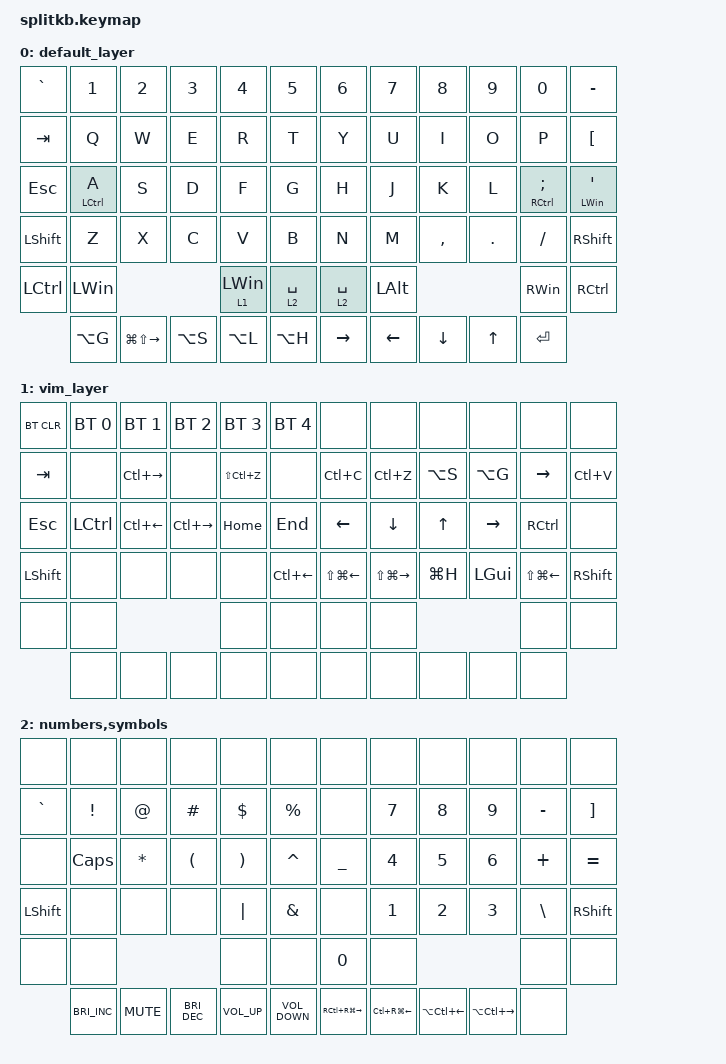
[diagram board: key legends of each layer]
/*
 * Copyright (c) 2020 The ZMK Contributors
 *
 * SPDX-License-Identifier: MIT
 */

#include <behaviors.dtsi>
#include <dt-bindings/zmk/bt.h>
#include <dt-bindings/zmk/keys.h>

/ {
    combos {
        compatible = "zmk,combos";

        Backspace {
            bindings = <&kp BACKSPACE>;
            key-positions = <19 20>;
        };

        Enter {
            bindings = <&kp ENTER>;
            key-positions = <20 21>;
        };

        Delete {
            bindings = <&kp DELETE>;
            key-positions = <14 15>;
        };
    };

    behaviors {
        hml: hml {
            compatible = "zmk,behavior-hold-tap";
            label = "HML";
            bindings = <&kp>, <&kp>;

            #binding-cells = <2>;
            tapping-term-ms = <200>;
            quick-tap-ms = <100>;
            flavor = "balanced";
            hold-trigger-on-release;
            hold-trigger-key-positions = <6 7 9 10 11 18 19 20 21 22 23 30 31 32 33 34 35 42 43 44 45 46 47 52 53 54 55 61 62 63 64 65 8>;
            require-prior-idle-ms = <200>;
        };

        hmr: hmr {
            compatible = "zmk,behavior-hold-tap";
            label = "HMR";
            bindings = <&kp>, <&kp>;

            #binding-cells = <2>;
            tapping-term-ms = <200>;
            quick-tap-ms = <100>;
            flavor = "balanced";
            hold-trigger-on-release;
            hold-trigger-key-positions = <6 7 9 10 11 18 19 20 21 22 23 30 31 32 33 34 35 42 43 44 45 46 47 52 53 54 55 61 62 63 64 65 8>;
            require-prior-idle-ms = <200>;
        };

        ml: ml {
            compatible = "zmk,behavior-hold-tap";
            label = "ML";
            bindings = <&mo>, <&kp>;

            #binding-cells = <2>;
            tapping-term-ms = <200>;
            quick-tap-ms = <100>;
            flavor = "balanced";
            hold-trigger-on-release;
            hold-trigger-key-positions = <6 7 9 10 11 18 19 20 21 22 23 30 31 32 33 34 35 42 43 44 45 46 47 52 53 54 55 61 62 63 64 65 8 0 1 2 3 4 5 6 7 8 9 10 11 12 13 14 15 16 17 18 19 20 21 22 23 24 25 26 27 28 29 30 31 32 33 34 35 36 37 38 39 40 41 42 43 44 45 46 47 48 49 50 51 52 53 54 55 56 64 60 59 57 58>;
        };
    };

    keymap {
        compatible = "zmk,keymap";

        default_layer {
            bindings = <
&kp GRAVE  &kp N1               &kp N2             &kp N3     &kp N4          &kp N5       &kp N6       &kp N7        &kp N8     &kp N9   &kp N0                        &kp MINUS
&kp TAB    &kp Q                &kp W              &kp E      &kp R           &kp T        &kp Y        &kp U         &kp I      &kp O    &kp P                         &kp LBKT
&kp ESC    &hml LEFT_CONTROL A  &kp S              &kp D      &kp F           &kp G        &kp H        &kp J         &kp K      &kp L    &hmr RIGHT_CONTROL SEMICOLON  &hmr LEFT_WIN SQT
&kp LSHFT  &kp Z                &kp X              &kp C      &kp V           &kp B        &kp N        &kp M         &kp COMMA  &kp DOT  &kp FSLH                      &kp RSHFT
&kp LCTRL  &kp LEFT_WIN                                       &ml 1 LEFT_WIN  &ml 2 SPACE  &ml 2 SPACE  &kp LEFT_ALT                      &kp RIGHT_WIN                 &kp RCTRL
           &kp LA(G)            &kp LG(LS(RIGHT))  &kp LA(S)  &kp LA(L)       &kp LA(H)    &kp RIGHT    &kp LEFT      &kp DOWN   &kp UP   &kp ENTER
            >;
        };

        vim_layer {
            bindings = <
&bt BT_CLR  &bt BT_SEL 0  &bt BT_SEL 1   &bt BT_SEL 2   &bt BT_SEL 3   &bt BT_SEL 4  &none             &none              &none      &none      &none             &none
&kp TAB     &none         &kp LC(RIGHT)  &none          &kp LS(LC(Z))  &none         &kp LC(C)         &kp LC(Z)          &kp LA(S)  &kp LA(G)  &kp RIGHT         &kp LC(V)
&kp ESC     &kp LCTRL     &kp LC(LEFT)   &kp LC(RIGHT)  &kp HOME       &kp END       &kp LEFT          &kp DOWN           &kp UP     &kp RIGHT  &kp RCTRL         &none
&kp LSHFT   &none         &none          &none          &none          &kp LC(LEFT)  &kp LS(LG(LEFT))  &kp LS(LG(RIGHT))  &kp LG(H)  &kp LGUI   &kp LS(LG(LEFT))  &kp RSHFT
&none       &none                                       &none          &none         &none             &none                                    &none             &none
            &none         &none          &none          &none          &none         &none             &none              &none      &none      &none
            >;
        };

        numbers,symbols {
            bindings = <
&none           &none                 &none         &none                 &none                  &none              &none              &none             &none             &none              &none          &none
&kp GRAVE       &kp EXCLAMATION       &kp AT_SIGN   &kp HASH              &kp DOLLAR             &kp PERCENT        &none              &kp N7            &kp N8            &kp N9             &kp MINUS      &kp RIGHT_BRACKET
&none           &kp CAPSLOCK          &kp ASTERISK  &kp LEFT_PARENTHESIS  &kp RIGHT_PARENTHESIS  &kp CARET          &kp UNDER          &kp N4            &kp N5            &kp N6             &kp PLUS       &kp EQUAL
&kp LEFT_SHIFT  &none                 &none         &none                 &kp PIPE               &kp AMPERSAND      &none              &kp N1            &kp N2            &kp N3             &kp BACKSLASH  &kp RIGHT_SHIFT
&none           &none                                                     &none                  &none              &kp N0             &none                                                  &none          &none
                &kp C_BRIGHTNESS_INC  &kp K_MUTE    &kp C_BRIGHTNESS_DEC  &kp C_VOLUME_UP        &kp C_VOLUME_DOWN  &kp RC(RG(RIGHT))  &kp LC(RG(LEFT))  &kp LA(LC(LEFT))  &kp LA(LC(RIGHT))  &none
            >;
        };
    };
};
